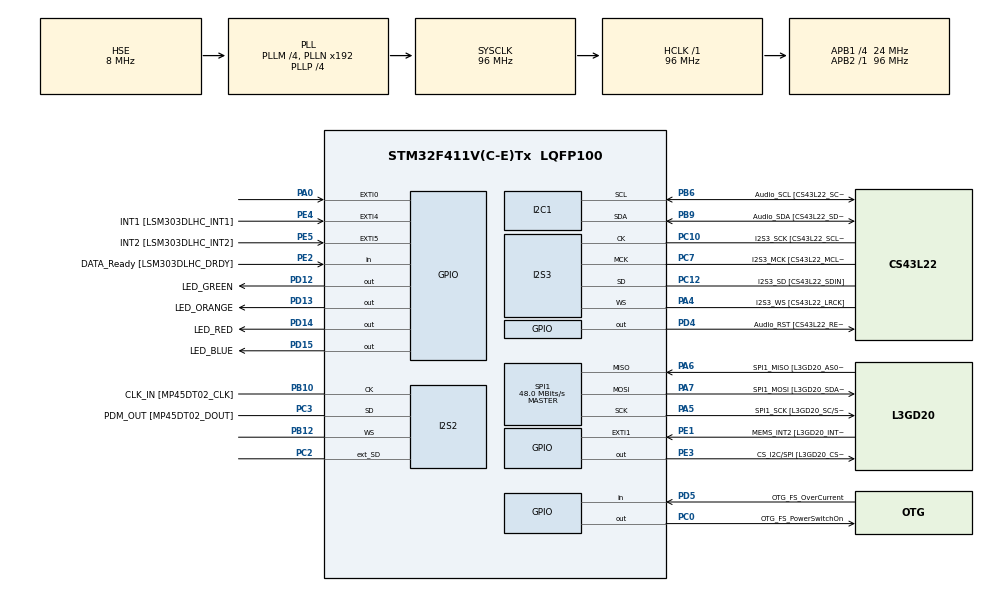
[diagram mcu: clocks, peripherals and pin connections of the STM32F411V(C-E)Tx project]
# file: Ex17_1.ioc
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FREERTOS.BinarySemaphores01=CriticalResourceS,Dynamic,NULL
FREERTOS.INCLUDE_vTaskDelayUntil=1
FREERTOS.Mutexes01=CriticalResourceMutex,Dynamic,NULL
FREERTOS.Tasks01=FlashGreenLed,0,128,StartFlashGreenLedTask,Default,NULL,Dynamic,NULL,NULL;FlashRedLed,0,128,StartFlashRedLedTask,Default,NULL,Dynamic,NULL,NULL;FlashBlueLed,0,128,StartFlashBlueLedTask,Default,NULL,Dynamic,NULL,NULL
FREERTOS.configUSE_NEWLIB_REENTRANT=1
I2S2.AudioFreq=I2S_AUDIOFREQ_96K
I2S2.ErrorAudioFreq=0.15 %
I2S2.FullDuplexMode=I2S_FULLDUPLEXMODE_ENABLE
I2S2.Instance=SPI$Index
I2S2.RealAudioFreq=96.153 KHz
I2S2.VirtualMode=I2S_MODE_MASTER
I2S3.AudioFreq=I2S_AUDIOFREQ_96K
I2S3.ErrorAudioFreq=-6.99 %
I2S3.FullDuplexMode=I2S_FULLDUPLEXMODE_DISABLE
I2S3.Instance=SPI$Index
I2S3.RealAudioFreq=89.285 KHz
I2S3.VirtualMode=I2S_MODE_MASTER
Mcu.Family=STM32F4
Mcu.Name=STM32F411V(C-E)Tx
Mcu.Package=LQFP100
NVIC.PriorityGroup=NVIC_PRIORITYGROUP_4
NVIC.TIM1_UP_TIM10_IRQn=true\:15\:0\:false\:false\:true\:false\:false\:true\:true
NVIC.TimeBase=TIM1_UP_TIM10_IRQn
NVIC.TimeBaseIP=TIM1
PA0-WKUP.GPIO_ModeDefaultEXTI=GPIO_MODE_EVT_RISING
PA0-WKUP.Signal=GPXTI0
PA10.GPIO_Label=OTG_FS_ID
PA10.Signal=USB_OTG_FS_ID
PA11.GPIO_Label=OTG_FS_DM
PA11.Signal=USB_OTG_FS_DM
PA12.GPIO_Label=OTG_FS_DP
PA12.Signal=USB_OTG_FS_DP
PA13.GPIO_Label=SWDIO
PA13.Mode=Serial_Wire
PA13.Signal=SYS_JTMS-SWDIO
PA14.GPIO_Label=SWCLK
PA14.Mode=Serial_Wire
PA14.Signal=SYS_JTCK-SWCLK
PA4.GPIO_Label=I2S3_WS [CS43L22_LRCK]
PA4.GPIO_Mode=GPIO_MODE_AF_PP
PA4.GPIO_PuPd=GPIO_NOPULL
PA4.GPIO_Speed=GPIO_SPEED_FREQ_LOW
PA4.Mode=Half_Duplex_Master
PA4.Signal=I2S3_WS
PA5.GPIO_Label=SPI1_SCK [L3GD20_SC/SPC]
PA5.Mode=Full_Duplex_Master
PA5.Signal=SPI1_SCK
PA6.GPIO_Label=SPI1_MISO [L3GD20_AS0/SDO]
PA6.Mode=Full_Duplex_Master
PA6.Signal=SPI1_MISO
PA7.GPIO_Label=SPI1_MOSI [L3GD20_SDA/SDI/SDO]
PA7.Mode=Full_Duplex_Master
PA7.Signal=SPI1_MOSI
PA9.GPIO_Label=VBUS_FS
PA9.Signal=USB_OTG_FS_VBUS
PB10.GPIO_Label=CLK_IN [MP45DT02_CLK]
PB10.Mode=Full_Duplex_Master
PB10.Signal=I2S2_CK
PB12.Mode=Full_Duplex_Master
PB12.Signal=I2S2_WS
PB3.GPIO_Label=SWO
PB3.Signal=SYS_JTDO-SWO
PB6.GPIO_Label=Audio_SCL [CS43L22_SCL]
PB6.GPIO_Mode=GPIO_MODE_AF_OD
PB6.GPIO_Pu=GPIO_PULLUP
PB6.GPIO_PuPd=GPIO_NOPULL
PB6.GPIO_Speed=GPIO_SPEED_FREQ_LOW
PB6.Mode=I2C
PB6.Signal=I2C1_SCL
PB9.GPIO_Label=Audio_SDA [CS43L22_SDA]
PB9.GPIO_Mode=GPIO_MODE_AF_OD
PB9.GPIO_Pu=GPIO_PULLUP
PB9.GPIO_PuPd=GPIO_NOPULL
PB9.GPIO_Speed=GPIO_SPEED_FREQ_LOW
PB9.Mode=I2C
PB9.Signal=I2C1_SDA
PC0.GPIO_Label=OTG_FS_PowerSwitchOn
PC0.PinState=GPIO_PIN_SET
PC0.Signal=GPIO_Output
PC10.GPIO_Label=I2S3_SCK [CS43L22_SCLK]
PC10.GPIO_Mode=GPIO_MODE_AF_PP
PC10.GPIO_PuPd=GPIO_NOPULL
PC10.GPIO_Speed=GPIO_SPEED_FREQ_LOW
PC10.Mode=Half_Duplex_Master
PC10.Signal=I2S3_CK
PC12.GPIO_Label=I2S3_SD [CS43L22_SDIN]
PC12.GPIO_Mode=GPIO_MODE_AF_PP
PC12.GPIO_PuPd=GPIO_NOPULL
PC12.GPIO_Speed=GPIO_SPEED_FREQ_LOW
PC12.Mode=Half_Duplex_Master
PC12.Signal=I2S3_SD
PC14-OSC32_IN.GPIO_Label=PC14-OSC32_IN
PC14-OSC32_IN.Mode=LSE-External-Oscillator
PC14-OSC32_IN.Signal=RCC_OSC32_IN
PC15-OSC32_OUT.GPIO_Label=PC15-OSC32_OUT
PC15-OSC32_OUT.Mode=LSE-External-Oscillator
PC15-OSC32_OUT.Signal=RCC_OSC32_OUT
PC2.Mode=Full_Duplex_Master
PC2.Signal=I2S2_ext_SD
PC3.GPIO_Label=PDM_OUT [MP45DT02_DOUT]
PC3.Mode=Full_Duplex_Master
PC3.Signal=I2S2_SD
PC7.GPIO_Label=I2S3_MCK [CS43L22_MCLK]
PC7.GPIO_Mode=GPIO_MODE_AF_PP
PC7.GPIO_PuPd=GPIO_NOPULL
PC7.GPIO_Speed=GPIO_SPEED_FREQ_LOW
PC7.Mode=Master_Clock_Activated
PC7.Signal=I2S3_MCK
PD12.GPIO_Label=LED_GREEN
PD12.GPIO_PuPd=GPIO_NOPULL
PD12.GPIO_Speed=GPIO_SPEED_FREQ_LOW
PD12.Signal=GPIO_Output
PD13.GPIO_Label=LED_ORANGE
PD13.GPIO_PuPd=GPIO_NOPULL
PD13.GPIO_Speed=GPIO_SPEED_FREQ_LOW
PD13.Signal=GPIO_Output
PD14.GPIO_Label=LED_RED
PD14.GPIO_PuPd=GPIO_NOPULL
PD14.GPIO_Speed=GPIO_SPEED_FREQ_LOW
PD14.Signal=GPIO_Output
PD15.GPIO_Label=LED_BLUE
PD15.GPIO_PuPd=GPIO_NOPULL
PD15.GPIO_Speed=GPIO_SPEED_FREQ_LOW
PD15.Signal=GPIO_Output
PD4.GPIO_Label=Audio_RST [CS43L22_RESET]
PD4.Signal=GPIO_Output
PD5.GPIO_Label=OTG_FS_OverCurrent
PD5.Signal=GPIO_Input
PE1.GPIO_Label=MEMS_INT2 [L3GD20_INT2]
PE1.GPIO_ModeDefaultEXTI=GPIO_MODE_EVT_RISING
PE1.Signal=GPXTI1
PE2.GPIO_Label=DATA_Ready [LSM303DLHC_DRDY]
PE2.Signal=GPIO_Input
PE3.GPIO_Label=CS_I2C/SPI [L3GD20_CS_I2C/SPI]
PE3.Signal=GPIO_Output
PE4.GPIO_Label=INT1 [LSM303DLHC_INT1]
PE4.GPIO_ModeDefaultEXTI=GPIO_MODE_EVT_RISING
PE4.Signal=GPXTI4
PE5.GPIO_Label=INT2 [LSM303DLHC_INT2]
PE5.GPIO_ModeDefaultEXTI=GPIO_MODE_EVT_RISING
PE5.Signal=GPXTI5
PH0\ -\ OSC_IN.GPIO_Label=PH0-OSC_IN
PH0\ -\ OSC_IN.Mode=HSE-External-Oscillator
PH0\ -\ OSC_IN.Signal=RCC_OSC_IN
PH1\ -\ OSC_OUT.GPIO_Label=PH1-OSC_OUT
PH1\ -\ OSC_OUT.Mode=HSE-External-Oscillator
PH1\ -\ OSC_OUT.Signal=RCC_OSC_OUT
ProjectManager.HeapSize=0x200
ProjectManager.StackSize=0x400
ProjectManager.TargetToolchain=STM32CubeIDE
RCC.48MHZClocksFreq_Value=48000000
RCC.AHBFreq_Value=96000000
RCC.APB1CLKDivider=RCC_HCLK_DIV4
RCC.APB1Freq_Value=24000000
RCC.APB1TimFreq_Value=48000000
RCC.APB2Freq_Value=96000000
RCC.APB2TimFreq_Value=96000000
RCC.CortexFreq_Value=96000000
RCC.HCLKFreq_Value=96000000
RCC.HSE_VALUE=8000000
RCC.HSI_VALUE=16000000
RCC.PLLI2SM=5
RCC.PLLI2SN=200
RCC.PLLM=4
RCC.PLLP=RCC_PLLP_DIV4
RCC.PLLQ=8
RCC.PLLSourceVirtual=RCC_PLLSOURCE_HSE
RCC.SYSCLKFreq_VALUE=96000000
RCC.SYSCLKSource=RCC_SYSCLKSOURCE_PLLCLK
RCC.VCOOutputFreq_Value=384000000
SPI1.BaudRatePrescaler=SPI_BAUDRATEPRESCALER_2
SPI1.CalculateBaudRate=48.0 MBits/s
SPI1.Direction=SPI_DIRECTION_2LINES
SPI1.Mode=SPI_MODE_MASTER
SPI1.VirtualType=VM_MASTER
VP_FREERTOS_VS_CMSIS_V1.Mode=CMSIS_V1
VP_SYS_VS_tim1.Mode=TIM1
board=STM32F411E-DISCO

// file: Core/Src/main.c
/* USER CODE BEGIN Header */
/**
  ******************************************************************************
  * @file           : main.c
  * @brief          : Main program body
  ******************************************************************************
  * @attention
  *
  * Copyright (c) 2024 STMicroelectronics.
  * All rights reserved.
  *
  * This software is licensed under terms that can be found in the LICENSE file
  * in the root directory of this software component.
  * If no LICENSE file comes with this software, it is provided AS-IS.
  *
  ******************************************************************************
  */
/* USER CODE END Header */
#include "main.h"
#include "cmsis_os.h"

/* USER CODE BEGIN PD */
#define WaitForever portMAX_DELAY
#define NoWait 0
#define WaitSignal osSemaphoreWait
#define SendSignal osSemaphoreRelease
#define BlockSignal osSemaphoreWait
/* USER CODE END PD */

I2C_HandleTypeDef hi2c1;

I2S_HandleTypeDef hi2s2;
I2S_HandleTypeDef hi2s3;

SPI_HandleTypeDef hspi1;

osThreadId FlashGreenLedHandle;
osThreadId FlashRedLedHandle;
osThreadId FlashBlueLedHandle;
osMutexId CriticalResourceMutexHandle;
osSemaphoreId CriticalResourceSHandle;

void SystemClock_Config(void);
void PeriphCommonClock_Config(void);
static void MX_GPIO_Init(void);
static void MX_I2C1_Init(void);
static void MX_I2S2_Init(void);
static void MX_I2S3_Init(void);
static void MX_SPI1_Init(void);
void StartFlashGreenLedTask(void const * argument);
void StartFlashRedLedTask(void const * argument);
void StartFlashBlueLedTask(void const * argument);

/* USER CODE BEGIN 0 */
int taskCounter=1;
/* USER CODE END 0 */

int main(void)
{

  /* MCU Configuration--------------------------------------------------------*/

  /* Reset of all peripherals, Initializes the Flash interface and the Systick. */
  HAL_Init();

  /* Configure the system clock */
  SystemClock_Config();

/* Configure the peripherals common clocks */
  PeriphCommonClock_Config();

  /* Initialize all configured peripherals */
  MX_GPIO_Init();
  MX_I2C1_Init();
  MX_I2S2_Init();
  MX_I2S3_Init();
  MX_SPI1_Init();

  /* Create the mutex(es) */
  /* definition and creation of CriticalResourceMutex */
  osMutexDef(CriticalResourceMutex);
  CriticalResourceMutexHandle = osMutexCreate(osMutex(CriticalResourceMutex));

  /* Create the semaphores(s) */
  /* definition and creation of CriticalResourceS */
  osSemaphoreDef(CriticalResourceS);
  CriticalResourceSHandle = osSemaphoreCreate(osSemaphore(CriticalResourceS), 1);

  /* Create the thread(s) */
  /* definition and creation of FlashGreenLed */
  osThreadDef(FlashGreenLed, StartFlashGreenLedTask, osPriorityNormal, 0, 128);
  FlashGreenLedHandle = osThreadCreate(osThread(FlashGreenLed), NULL);

  /* definition and creation of FlashRedLed */
  osThreadDef(FlashRedLed, StartFlashRedLedTask, osPriorityNormal, 0, 128);
  FlashRedLedHandle = osThreadCreate(osThread(FlashRedLed), NULL);

  /* definition and creation of FlashBlueLed */
  osThreadDef(FlashBlueLed, StartFlashBlueLedTask, osPriorityNormal, 0, 128);
  FlashBlueLedHandle = osThreadCreate(osThread(FlashBlueLed), NULL);

  /* Start scheduler */
  osKernelStart();

  /* We should never get here as control is now taken by the scheduler */
  /* Infinite loop */
  while (1)
  {

  }
}

void SystemClock_Config(void)
{
  RCC_OscInitTypeDef RCC_OscInitStruct = {0};
  RCC_ClkInitTypeDef RCC_ClkInitStruct = {0};

  /** Configure the main internal regulator output voltage
  */
  __HAL_RCC_PWR_CLK_ENABLE();
  __HAL_PWR_VOLTAGESCALING_CONFIG(PWR_REGULATOR_VOLTAGE_SCALE1);

  /** Initializes the RCC Oscillators according to the specified parameters
  * in the RCC_OscInitTypeDef structure.
  */
  RCC_OscInitStruct.OscillatorType = RCC_OSCILLATORTYPE_HSE;
  RCC_OscInitStruct.HSEState = RCC_HSE_ON;
  RCC_OscInitStruct.PLL.PLLState = RCC_PLL_ON;
  RCC_OscInitStruct.PLL.PLLSource = RCC_PLLSOURCE_HSE;
  RCC_OscInitStruct.PLL.PLLM = 4;
  RCC_OscInitStruct.PLL.PLLN = 192;
  RCC_OscInitStruct.PLL.PLLP = RCC_PLLP_DIV4;
  RCC_OscInitStruct.PLL.PLLQ = 8;
  if (HAL_RCC_OscConfig(&RCC_OscInitStruct) != HAL_OK)
  {
    Error_Handler();
  }

  /** Initializes the CPU, AHB and APB buses clocks
  */
  RCC_ClkInitStruct.ClockType = RCC_CLOCKTYPE_HCLK|RCC_CLOCKTYPE_SYSCLK
                              |RCC_CLOCKTYPE_PCLK1|RCC_CLOCKTYPE_PCLK2;
  RCC_ClkInitStruct.SYSCLKSource = RCC_SYSCLKSOURCE_PLLCLK;
  RCC_ClkInitStruct.AHBCLKDivider = RCC_SYSCLK_DIV1;
  RCC_ClkInitStruct.APB1CLKDivider = RCC_HCLK_DIV4;
  RCC_ClkInitStruct.APB2CLKDivider = RCC_HCLK_DIV1;

  if (HAL_RCC_ClockConfig(&RCC_ClkInitStruct, FLASH_LATENCY_3) != HAL_OK)
  {
    Error_Handler();
  }
}

void PeriphCommonClock_Config(void)
{
  RCC_PeriphCLKInitTypeDef PeriphClkInitStruct = {0};

  /** Initializes the peripherals clock
  */
  PeriphClkInitStruct.PeriphClockSelection = RCC_PERIPHCLK_I2S;
  PeriphClkInitStruct.PLLI2S.PLLI2SN = 200;
  PeriphClkInitStruct.PLLI2S.PLLI2SM = 5;
  PeriphClkInitStruct.PLLI2S.PLLI2SR = 2;
  if (HAL_RCCEx_PeriphCLKConfig(&PeriphClkInitStruct) != HAL_OK)
  {
    Error_Handler();
  }
}

static void MX_I2C1_Init(void)
{

  hi2c1.Instance = I2C1;
  hi2c1.Init.ClockSpeed = 100000;
  hi2c1.Init.DutyCycle = I2C_DUTYCYCLE_2;
  hi2c1.Init.OwnAddress1 = 0;
  hi2c1.Init.AddressingMode = I2C_ADDRESSINGMODE_7BIT;
  hi2c1.Init.DualAddressMode = I2C_DUALADDRESS_DISABLE;
  hi2c1.Init.OwnAddress2 = 0;
  hi2c1.Init.GeneralCallMode = I2C_GENERALCALL_DISABLE;
  hi2c1.Init.NoStretchMode = I2C_NOSTRETCH_DISABLE;
  if (HAL_I2C_Init(&hi2c1) != HAL_OK)
  {
    Error_Handler();
  }

}

static void MX_I2S2_Init(void)
{

  hi2s2.Instance = SPI2;
  hi2s2.Init.Mode = I2S_MODE_MASTER_TX;
  hi2s2.Init.Standard = I2S_STANDARD_PHILIPS;
  hi2s2.Init.DataFormat = I2S_DATAFORMAT_16B;
  hi2s2.Init.MCLKOutput = I2S_MCLKOUTPUT_DISABLE;
  hi2s2.Init.AudioFreq = I2S_AUDIOFREQ_96K;
  hi2s2.Init.CPOL = I2S_CPOL_LOW;
  hi2s2.Init.ClockSource = I2S_CLOCK_PLL;
  hi2s2.Init.FullDuplexMode = I2S_FULLDUPLEXMODE_ENABLE;
  if (HAL_I2S_Init(&hi2s2) != HAL_OK)
  {
    Error_Handler();
  }

}

static void MX_I2S3_Init(void)
{

  hi2s3.Instance = SPI3;
  hi2s3.Init.Mode = I2S_MODE_MASTER_TX;
  hi2s3.Init.Standard = I2S_STANDARD_PHILIPS;
  hi2s3.Init.DataFormat = I2S_DATAFORMAT_16B;
  hi2s3.Init.MCLKOutput = I2S_MCLKOUTPUT_ENABLE;
  hi2s3.Init.AudioFreq = I2S_AUDIOFREQ_96K;
  hi2s3.Init.CPOL = I2S_CPOL_LOW;
  hi2s3.Init.ClockSource = I2S_CLOCK_PLL;
  hi2s3.Init.FullDuplexMode = I2S_FULLDUPLEXMODE_DISABLE;
  if (HAL_I2S_Init(&hi2s3) != HAL_OK)
  {
    Error_Handler();
  }

}

static void MX_SPI1_Init(void)
{

  /* SPI1 parameter configuration*/
  hspi1.Instance = SPI1;
  hspi1.Init.Mode = SPI_MODE_MASTER;
  hspi1.Init.Direction = SPI_DIRECTION_2LINES;
  hspi1.Init.DataSize = SPI_DATASIZE_8BIT;
  hspi1.Init.CLKPolarity = SPI_POLARITY_LOW;
  hspi1.Init.CLKPhase = SPI_PHASE_1EDGE;
  hspi1.Init.NSS = SPI_NSS_SOFT;
  hspi1.Init.BaudRatePrescaler = SPI_BAUDRATEPRESCALER_2;
  hspi1.Init.FirstBit = SPI_FIRSTBIT_MSB;
  hspi1.Init.TIMode = SPI_TIMODE_DISABLE;
  hspi1.Init.CRCCalculation = SPI_CRCCALCULATION_DISABLE;
  hspi1.Init.CRCPolynomial = 10;
  if (HAL_SPI_Init(&hspi1) != HAL_OK)
  {
    Error_Handler();
  }

}

static void MX_GPIO_Init(void)
{
  GPIO_InitTypeDef GPIO_InitStruct = {0};

  /* GPIO Ports Clock Enable */
  __HAL_RCC_GPIOE_CLK_ENABLE();
  __HAL_RCC_GPIOC_CLK_ENABLE();
  __HAL_RCC_GPIOH_CLK_ENABLE();
  __HAL_RCC_GPIOA_CLK_ENABLE();
  __HAL_RCC_GPIOB_CLK_ENABLE();
  __HAL_RCC_GPIOD_CLK_ENABLE();

  /*Configure GPIO pin Output Level */
  HAL_GPIO_WritePin(CS_I2C_SPI_GPIO_Port, CS_I2C_SPI_Pin, GPIO_PIN_RESET);

  /*Configure GPIO pin Output Level */
  HAL_GPIO_WritePin(OTG_FS_PowerSwitchOn_GPIO_Port, OTG_FS_PowerSwitchOn_Pin, GPIO_PIN_SET);

  /*Configure GPIO pin Output Level */
  HAL_GPIO_WritePin(GPIOD, LED_GREEN_Pin|LED_ORANGE_Pin|LED_RED_Pin|LED_BLUE_Pin
                          |Audio_RST_Pin, GPIO_PIN_RESET);

  /*Configure GPIO pin : DATA_Ready_Pin */
  GPIO_InitStruct.Pin = DATA_Ready_Pin;
  GPIO_InitStruct.Mode = GPIO_MODE_INPUT;
  GPIO_InitStruct.Pull = GPIO_NOPULL;
  HAL_GPIO_Init(DATA_Ready_GPIO_Port, &GPIO_InitStruct);

  /*Configure GPIO pin : CS_I2C_SPI_Pin */
  GPIO_InitStruct.Pin = CS_I2C_SPI_Pin;
  GPIO_InitStruct.Mode = GPIO_MODE_OUTPUT_PP;
  GPIO_InitStruct.Pull = GPIO_NOPULL;
  GPIO_InitStruct.Speed = GPIO_SPEED_FREQ_LOW;
  HAL_GPIO_Init(CS_I2C_SPI_GPIO_Port, &GPIO_InitStruct);

  /*Configure GPIO pins : INT1_Pin INT2_Pin MEMS_INT2_Pin */
  GPIO_InitStruct.Pin = INT1_Pin|INT2_Pin|MEMS_INT2_Pin;
  GPIO_InitStruct.Mode = GPIO_MODE_EVT_RISING;
  GPIO_InitStruct.Pull = GPIO_NOPULL;
  HAL_GPIO_Init(GPIOE, &GPIO_InitStruct);

  /*Configure GPIO pin : OTG_FS_PowerSwitchOn_Pin */
  GPIO_InitStruct.Pin = OTG_FS_PowerSwitchOn_Pin;
  GPIO_InitStruct.Mode = GPIO_MODE_OUTPUT_PP;
  GPIO_InitStruct.Pull = GPIO_NOPULL;
  GPIO_InitStruct.Speed = GPIO_SPEED_FREQ_LOW;
  HAL_GPIO_Init(OTG_FS_PowerSwitchOn_GPIO_Port, &GPIO_InitStruct);

  /*Configure GPIO pin : PA0 */
  GPIO_InitStruct.Pin = GPIO_PIN_0;
  GPIO_InitStruct.Mode = GPIO_MODE_EVT_RISING;
  GPIO_InitStruct.Pull = GPIO_NOPULL;
  HAL_GPIO_Init(GPIOA, &GPIO_InitStruct);

  /*Configure GPIO pins : LED_GREEN_Pin LED_ORANGE_Pin LED_RED_Pin LED_BLUE_Pin
                           Audio_RST_Pin */
  GPIO_InitStruct.Pin = LED_GREEN_Pin|LED_ORANGE_Pin|LED_RED_Pin|LED_BLUE_Pin
                          |Audio_RST_Pin;
  GPIO_InitStruct.Mode = GPIO_MODE_OUTPUT_PP;
  GPIO_InitStruct.Pull = GPIO_NOPULL;
  GPIO_InitStruct.Speed = GPIO_SPEED_FREQ_LOW;
  HAL_GPIO_Init(GPIOD, &GPIO_InitStruct);

  /*Configure GPIO pin : VBUS_FS_Pin */
  GPIO_InitStruct.Pin = VBUS_FS_Pin;
  GPIO_InitStruct.Mode = GPIO_MODE_INPUT;
  GPIO_InitStruct.Pull = GPIO_NOPULL;
  HAL_GPIO_Init(VBUS_FS_GPIO_Port, &GPIO_InitStruct);

  /*Configure GPIO pins : OTG_FS_ID_Pin OTG_FS_DM_Pin OTG_FS_DP_Pin */
  GPIO_InitStruct.Pin = OTG_FS_ID_Pin|OTG_FS_DM_Pin|OTG_FS_DP_Pin;
  GPIO_InitStruct.Mode = GPIO_MODE_AF_PP;
  GPIO_InitStruct.Pull = GPIO_NOPULL;
  GPIO_InitStruct.Speed = GPIO_SPEED_FREQ_VERY_HIGH;
  GPIO_InitStruct.Alternate = GPIO_AF10_OTG_FS;
  HAL_GPIO_Init(GPIOA, &GPIO_InitStruct);

  /*Configure GPIO pin : OTG_FS_OverCurrent_Pin */
  GPIO_InitStruct.Pin = OTG_FS_OverCurrent_Pin;
  GPIO_InitStruct.Mode = GPIO_MODE_INPUT;
  GPIO_InitStruct.Pull = GPIO_NOPULL;
  HAL_GPIO_Init(OTG_FS_OverCurrent_GPIO_Port, &GPIO_InitStruct);

}

/* USER CODE BEGIN 4 */
void RendezvousBarrier(){
	int n=3;

	if(taskCounter < n){
		++taskCounter;
		WaitSignal(CriticalResourceSHandle, WaitForever);
	}

	if(taskCounter == n){
		for(int i=1;i<n;++i){
			SendSignal(CriticalResourceSHandle);
			osDelay(10);
		}
		taskCounter=1;
	}
}

void Flash10Hz(uint16_t color,int time)
{
	for(int i=0;i<time*10;i++)
	{
		HAL_GPIO_WritePin(GPIOD, color, GPIO_PIN_SET);
		osDelay(50);
		HAL_GPIO_WritePin(GPIOD, color, GPIO_PIN_RESET);
		osDelay(50);
	}
}

void Flash5Hz(uint16_t color,int time)
{
	for(int i=0;i<time*10;i++)
	{
		HAL_GPIO_WritePin(GPIOD, color, GPIO_PIN_SET);
		osDelay(100);
		HAL_GPIO_WritePin(GPIOD, color, GPIO_PIN_RESET);
		osDelay(100);
	}
}

void Flash1Hz(uint16_t color,int time)
{
	for(int i=0;i<time;i++)
	{
		HAL_GPIO_WritePin(GPIOD, color, GPIO_PIN_SET);
		osDelay(500);
		HAL_GPIO_WritePin(GPIOD, color, GPIO_PIN_RESET);
		osDelay(500);
	}
}
/* USER CODE END 4 */

void StartFlashGreenLedTask(void const * argument)
{
  /* USER CODE BEGIN 5 */
	BlockSignal(CriticalResourceSHandle, NoWait);
  /* Infinite loop */
  for(;;)
  {
	  Flash10Hz(LED_GREEN_Pin, 12);
	  RendezvousBarrier();

	  Flash1Hz(LED_GREEN_Pin, 20);
	  RendezvousBarrier();
	  WaitSignal(CriticalResourceSHandle, WaitForever);

	  Flash5Hz(LED_GREEN_Pin, 8);
	  RendezvousBarrier();
	  WaitSignal(CriticalResourceSHandle, WaitForever);
  }
  /* USER CODE END 5 */
}

void StartFlashRedLedTask(void const * argument)
{
  /* USER CODE BEGIN StartFlashRedLedTask */
	BlockSignal(CriticalResourceSHandle, NoWait);
  /* Infinite loop */
  for(;;)
  {
	  Flash10Hz(LED_RED_Pin, 20);
	  RendezvousBarrier();

	  Flash1Hz(LED_RED_Pin, 8);
	  RendezvousBarrier();
	  WaitSignal(CriticalResourceSHandle, WaitForever);

	  Flash5Hz(LED_RED_Pin, 20);
	  RendezvousBarrier();
  }
  /* USER CODE END StartFlashRedLedTask */
}

void StartFlashBlueLedTask(void const * argument)
{
  /* USER CODE BEGIN StartFlashBlueLedTask */
	BlockSignal(CriticalResourceSHandle, NoWait);
  /* Infinite loop */
  for(;;)
  {
	  Flash10Hz(LED_BLUE_Pin, 8);
	  RendezvousBarrier();

	  Flash1Hz(LED_BLUE_Pin, 12);
	  RendezvousBarrier();
	  WaitSignal(CriticalResourceSHandle, WaitForever);

	  Flash5Hz(LED_BLUE_Pin, 12);
	  RendezvousBarrier();
  }
  /* USER CODE END StartFlashBlueLedTask */
}

void HAL_TIM_PeriodElapsedCallback(TIM_HandleTypeDef *htim)
{
  if (htim->Instance == TIM1) {
    HAL_IncTick();
  }
}

void Error_Handler(void)
{
  __disable_irq();
  while (1)
  {
  }
}
